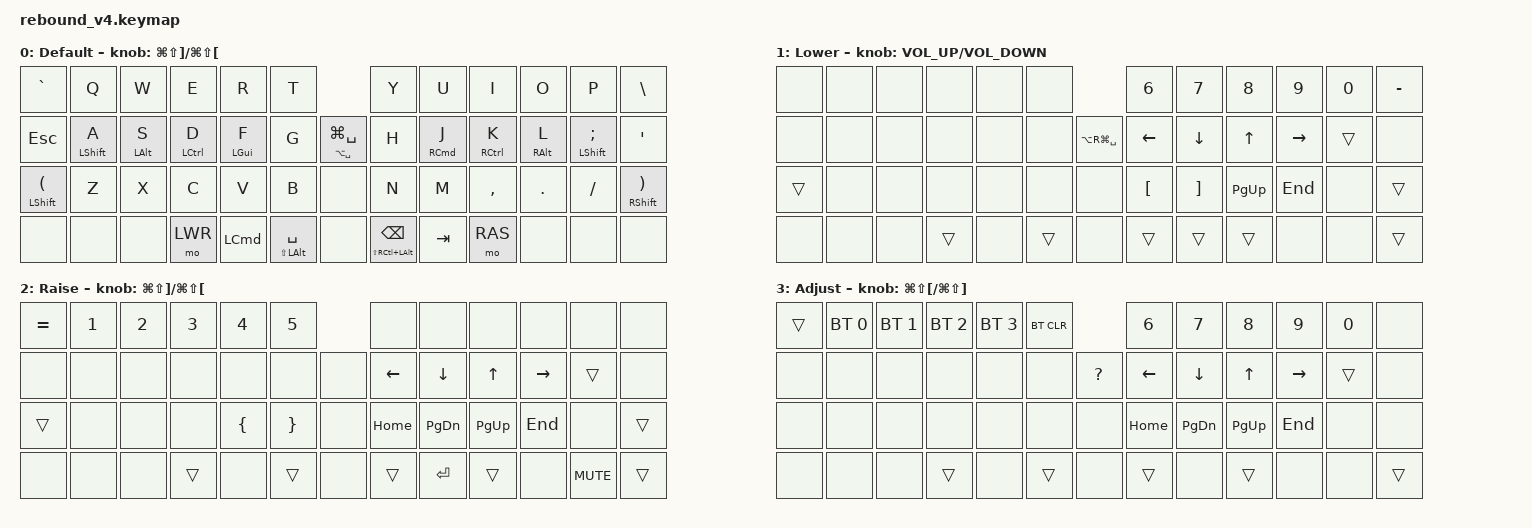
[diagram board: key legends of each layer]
/*
 * Copyright (c) 2020 The ZMK Contributors
 *
 * SPDX-License-Identifier: MIT
 */

#include <behaviors.dtsi>
#include <dt-bindings/zmk/keys.h>
#include <dt-bindings/zmk/bt.h>
#include <dt-bindings/zmk/outputs.h>
#include <dt-bindings/zmk/ext_power.h>
#include <dt-bindings/zmk/rgb.h>

#define DEFAULT 0
#define LWR     1
#define RAS     2
#define ADJ     3

&caps_word {
    continue-list = <UNDERSCORE MINUS>;
};

/ {
    combos {
    };
  };

/ {
    conditional_layers {
        compatible = "zmk,conditional-layers";
        tri_layer {
            if-layers = <1 2>;
            then-layer = <3>;
        };
    };
};

/ {
    combos {
        compatible = "zmk,combos";
        combo_esc {
            timeout-ms = <50>;
            key-positions = <43 45>;
            bindings = <&kp ENTER>;
        };
    };
};

/ {

    behaviors {
        hm: homerow_mods {
            compatible = "zmk,behavior-hold-tap";
            label = "HOMEROW_MODS";
            #binding-cells = <2>;
            tapping-term-ms = <200>;
            quick_tap_ms = <0>;
            flavor = "tap-preferred";
            bindings = <&kp>, <&kp>;
        };
        hs: homerow_shift {
            compatible = "zmk,behavior-hold-tap";
            label = "HOMEROW_MODS";
            #binding-cells = <2>;
            tapping-term-ms = <250>;
            quick_tap_ms = <0>;
            flavor = "tap-preferred";
            bindings = <&kp>, <&kp>;
        };
        am: amethyst_modifyers {
            compatible = "zmk,behavior-hold-tap";
            label = "AMETHYST_MODIFYER";
            #binding-cells = <2>;
            tapping-term-ms = <250>;
            quick_tap_ms = <0>;
            flavor = "tap-preferred";
            bindings = <&kp>, <&kp>;
        };
    };

        keymap {
        compatible = "zmk,keymap";

        default_layer {        
            label = "Default";              					  
		    bindings = <
        &kp GRAVE           &kp Q       &kp W       &kp E       &kp R         &kp T                                             &kp Y                   &kp U         &kp I         &kp O       &kp P           &kp BSLH
        &kp ESC             &hs LSHFT A &hm LALT S  &hm LCTL D  &hm LGUI F    &kp G              &mt LA(SPACE) LG(SPACE)        &kp H                   &hm RCMD J    &hm RCTRL K   &hm RALT L  &hs LSHFT SEMI  &kp SQT
        &mt LSHIFT LPAR     &kp Z       &kp X       &kp C       &kp V         &kp B                       &none                 &kp N                   &kp M         &kp COMMA     &kp DOT     &kp FSLH        &mt RSHIFT RPAR
        &none               &none       &none       &mo LWR     &kp LCMD      &am LS(LALT) SPACE          &none                 &am LS(RC(LALT)) BSPC   &kp TAB       &mo RAS       &none       &none           &none
                        >;
			            sensor-bindings = <&inc_dec_kp LG(LS(RBKT)) LG(LS(LBKT))>;
                };

        lower_layer {        
            label = "Lower";              					  
		    bindings = <
        &none               &none       &none       &none       &none           &none                                           &kp N6                  &kp N7        &kp N8        &kp N9      &kp N0          &kp MINUS
        &none               &none       &none       &none       &none           &none               &kp LA(RG(SPACE))           &kp LEFT                &kp DOWN      &kp UP        &kp RIGHT   &trans          &none 
        &trans              &none       &none       &none       &none           &none                    &none                  &kp LBKT                &kp RBKT      &kp PG_UP     &kp END     &none           &trans
        &none               &none       &none       &trans      &none           &trans                   &none                  &trans                  &trans        &trans        &none       &none           &trans
                        >;
                        sensor-bindings = <&inc_dec_kp C_VOLUME_UP C_VOLUME_DOWN>;
                };
        raise_layer {        
            label = "Raise";              					  
		    bindings = <
        &kp EQUAL           &kp N1      &kp N2      &kp N3      &kp N4          &kp N5                                          &none                   &none         &none         &none       &none           &none 
        &none               &none       &none       &none       &none           &none                    &none                  &kp LEFT                &kp DOWN      &kp UP        &kp RIGHT   &trans          &none 
        &trans              &none       &none       &none       &kp LBRC        &kp RBRC                 &none                  &kp HOME                &kp PG_DN     &kp PG_UP     &kp END     &none           &trans
        &none               &none       &none       &trans      &none           &trans                   &none                  &trans                  &kp ENTER     &trans        &none       &kp C_MUTE      &trans
                        >;
			            sensor-bindings = <&inc_dec_kp LG(LS(RBKT)) LG(LS(LBKT))>;
                };
        adjust_layer {        
            label = "Adjust";              					  
		    bindings = <
        &trans              &bt BT_SEL 0 &bt BT_SEL 1 &bt BT_SEL 2 &bt BT_SEL 3    &bt BT_CLR                                      &kp N6                  &kp N7        &kp N8        &kp N9      &kp N0          &none 
        &none               &none        &none        &none        &none           &none                    &kp QMARK              &kp LEFT                &kp DOWN      &kp UP        &kp RIGHT   &trans          &none 
        &none               &none        &none        &none        &none           &none                    &none                  &kp HOME                &kp PG_DN     &kp PG_UP     &kp END     &none           &none 
        &none               &none        &none        &trans       &none           &trans                   &none                  &trans                  &none         &trans        &none       &none           &trans
                        >;
			            sensor-bindings = <&inc_dec_kp LG(LS(LBKT)) LG(LS(RBKT))>;
                };       
        };
};
